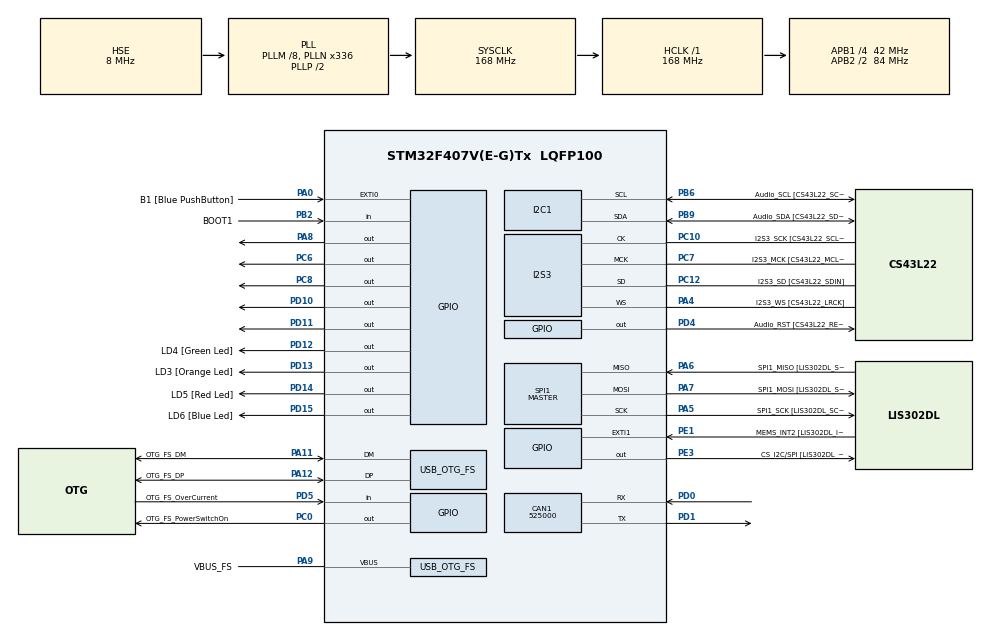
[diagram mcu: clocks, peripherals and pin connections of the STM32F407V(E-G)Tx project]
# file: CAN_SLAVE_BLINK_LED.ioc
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CAN1.BS1=CAN_BS1_2TQ
CAN1.BS2=CAN_BS2_2TQ
CAN1.CalculateBaudRate=525000
CAN1.CalculateTimeBit=1904
CAN1.CalculateTimeQuantum=380.95238095238096
CAN1.Mode=CAN_MODE_NORMAL
I2S3.AudioFreq-Half_Duplex_Master=I2S_AUDIOFREQ_96K
I2S3.ErrorAudioFreq=-2.34 %
I2S3.ErrorAudioFreq-Half_Duplex_Master=0.8 %
I2S3.FullDuplexMode=I2S_FULLDUPLEXMODE_DISABLE
I2S3.Instance=SPI$Index
I2S3.RealAudioFreq=93.75 KHz
I2S3.RealAudioFreq-Half_Duplex_Master=96.774 KHz
I2S3.VirtualMode=I2S_MODE_MASTER
Mcu.Family=STM32F4
Mcu.Name=STM32F407V(E-G)Tx
Mcu.Package=LQFP100
NVIC.CAN1_RX0_IRQn=true\:0\:0\:false\:false\:true\:true\:true\:true
NVIC.CAN1_RX1_IRQn=true\:0\:0\:false\:false\:true\:true\:true\:true
NVIC.CAN1_TX_IRQn=true\:0\:0\:false\:false\:true\:true\:true\:true
NVIC.OTG_FS_IRQn=true\:0\:0\:false\:false\:true\:true\:true\:true
NVIC.PriorityGroup=NVIC_PRIORITYGROUP_0
PA0-WKUP.GPIO_Label=B1 [Blue PushButton]
PA0-WKUP.GPIO_ModeDefaultEXTI=GPIO_MODE_EVT_RISING
PA0-WKUP.GPIO_PuPd=GPIO_NOPULL
PA0-WKUP.Signal=GPXTI0
PA10.GPIO_Label=OTG_FS_ID
PA10.GPIO_Mode=GPIO_MODE_AF_PP
PA10.GPIO_PuPd=GPIO_NOPULL
PA10.GPIO_Speed=GPIO_SPEED_FREQ_LOW
PA10.Signal=USB_OTG_FS_ID
PA11.GPIO_Label=OTG_FS_DM
PA11.GPIO_Mode=GPIO_MODE_AF_PP
PA11.GPIO_PuPd=GPIO_NOPULL
PA11.GPIO_Speed=GPIO_SPEED_FREQ_LOW
PA11.Mode=Host_Only
PA11.Signal=USB_OTG_FS_DM
PA12.GPIO_Label=OTG_FS_DP
PA12.GPIO_Mode=GPIO_MODE_AF_PP
PA12.GPIO_PuPd=GPIO_NOPULL
PA12.GPIO_Speed=GPIO_SPEED_FREQ_LOW
PA12.Mode=Host_Only
PA12.Signal=USB_OTG_FS_DP
PA13.GPIO_Label=SWDIO
PA13.Mode=Serial_Wire
PA13.Signal=SYS_JTMS-SWDIO
PA14.GPIO_Label=SWCLK
PA14.Mode=Serial_Wire
PA14.Signal=SYS_JTCK-SWCLK
PA4.GPIO_Label=I2S3_WS [CS43L22_LRCK]
PA4.GPIO_Mode=GPIO_MODE_AF_PP
PA4.GPIO_PuPd=GPIO_NOPULL
PA4.GPIO_Speed=GPIO_SPEED_FREQ_LOW
PA4.Mode=Half_Duplex_Master
PA4.Signal=I2S3_WS
PA5.GPIO_Label=SPI1_SCK [LIS302DL_SCL/SPC]
PA5.GPIO_Mode=GPIO_MODE_AF_PP
PA5.GPIO_PuPd=GPIO_NOPULL
PA5.GPIO_Speed=GPIO_SPEED_FREQ_LOW
PA5.Mode=Full_Duplex_Master
PA5.Signal=SPI1_SCK
PA6.GPIO_Label=SPI1_MISO [LIS302DL_SDO]
PA6.GPIO_Mode=GPIO_MODE_AF_PP
PA6.GPIO_PuPd=GPIO_NOPULL
PA6.GPIO_Speed=GPIO_SPEED_FREQ_LOW
PA6.Mode=Full_Duplex_Master
PA6.Signal=SPI1_MISO
PA7.GPIO_Label=SPI1_MOSI [LIS302DL_SDA/SDI/SDO]
PA7.GPIO_Mode=GPIO_MODE_AF_PP
PA7.GPIO_PuPd=GPIO_NOPULL
PA7.GPIO_Speed=GPIO_SPEED_FREQ_LOW
PA7.Mode=Full_Duplex_Master
PA7.Signal=SPI1_MOSI
PA8.Signal=GPIO_Output
PA9.GPIO_Label=VBUS_FS
PA9.GPIO_Mode=GPIO_MODE_INPUT
PA9.GPIO_PuPd=GPIO_NOPULL
PA9.Mode=Activate_VBUS
PA9.Signal=USB_OTG_FS_VBUS
PB10.GPIO_Label=CLK_IN [MP45DT02_CLK]
PB10.GPIO_Mode=GPIO_MODE_AF_PP
PB10.GPIO_PuPd=GPIO_NOPULL
PB10.GPIO_Speed=GPIO_SPEED_FREQ_LOW
PB10.Signal=I2S2_CK
PB2.GPIO_Label=BOOT1
PB2.GPIO_Mode=GPIO_MODE_INPUT
PB2.GPIO_PuPd=GPIO_NOPULL
PB2.Signal=GPIO_Input
PB3.GPIO_Label=SWO
PB3.Signal=SYS_JTDO-SWO
PB6.GPIO_Label=Audio_SCL [CS43L22_SCL]
PB6.GPIO_Mode=GPIO_MODE_AF_OD
PB6.GPIO_Pu=GPIO_PULLUP
PB6.GPIO_PuPd=GPIO_NOPULL
PB6.GPIO_Speed=GPIO_SPEED_FREQ_LOW
PB6.Mode=I2C
PB6.Signal=I2C1_SCL
PB9.GPIO_Label=Audio_SDA [CS43L22_SDA]
PB9.GPIO_Mode=GPIO_MODE_AF_OD
PB9.GPIO_Pu=GPIO_PULLUP
PB9.GPIO_PuPd=GPIO_NOPULL
PB9.GPIO_Speed=GPIO_SPEED_FREQ_LOW
PB9.Mode=I2C
PB9.Signal=I2C1_SDA
PC0.GPIO_Label=OTG_FS_PowerSwitchOn
PC0.GPIO_PuPd=GPIO_NOPULL
PC0.GPIO_Speed=GPIO_SPEED_FREQ_LOW
PC0.PinState=GPIO_PIN_SET
PC0.Signal=GPIO_Output
PC10.GPIO_Label=I2S3_SCK [CS43L22_SCLK]
PC10.GPIO_Mode=GPIO_MODE_AF_PP
PC10.GPIO_PuPd=GPIO_NOPULL
PC10.GPIO_Speed=GPIO_SPEED_FREQ_LOW
PC10.Mode=Half_Duplex_Master
PC10.Signal=I2S3_CK
PC12.GPIO_Label=I2S3_SD [CS43L22_SDIN]
PC12.GPIO_Mode=GPIO_MODE_AF_PP
PC12.GPIO_PuPd=GPIO_NOPULL
PC12.GPIO_Speed=GPIO_SPEED_FREQ_LOW
PC12.Mode=Half_Duplex_Master
PC12.Signal=I2S3_SD
PC14-OSC32_IN.GPIO_Label=PC14-OSC32_IN
PC14-OSC32_IN.Signal=RCC_OSC32_IN
PC15-OSC32_OUT.GPIO_Label=PC15-OSC32_OUT
PC15-OSC32_OUT.Signal=RCC_OSC32_OUT
PC3.GPIO_Label=PDM_OUT [MP45DT02_DOUT]
PC3.GPIO_Mode=GPIO_MODE_AF_PP
PC3.GPIO_PuPd=GPIO_NOPULL
PC3.GPIO_Speed=GPIO_SPEED_FREQ_LOW
PC3.Signal=I2S2_SD
PC6.Signal=GPIO_Output
PC7.GPIO_Label=I2S3_MCK [CS43L22_MCLK]
PC7.GPIO_Mode=GPIO_MODE_AF_PP
PC7.GPIO_PuPd=GPIO_NOPULL
PC7.GPIO_Speed=GPIO_SPEED_FREQ_LOW
PC7.Mode=Master_Clock_Activated
PC7.Signal=I2S3_MCK
PC8.Signal=GPIO_Output
PD0.Mode=CAN_Activate
PD0.Signal=CAN1_RX
PD1.Mode=CAN_Activate
PD1.Signal=CAN1_TX
PD10.Signal=GPIO_Output
PD11.Signal=GPIO_Output
PD12.GPIO_Label=LD4 [Green Led]
PD12.GPIO_PuPd=GPIO_NOPULL
PD12.GPIO_Speed=GPIO_SPEED_FREQ_LOW
PD12.Signal=GPIO_Output
PD13.GPIO_Label=LD3 [Orange Led]
PD13.GPIO_PuPd=GPIO_NOPULL
PD13.GPIO_Speed=GPIO_SPEED_FREQ_LOW
PD13.Signal=GPIO_Output
PD14.GPIO_Label=LD5 [Red Led]
PD14.GPIO_PuPd=GPIO_NOPULL
PD14.GPIO_Speed=GPIO_SPEED_FREQ_LOW
PD14.Signal=GPIO_Output
PD15.GPIO_Label=LD6 [Blue Led]
PD15.GPIO_PuPd=GPIO_NOPULL
PD15.GPIO_Speed=GPIO_SPEED_FREQ_LOW
PD15.Signal=GPIO_Output
PD4.GPIO_Label=Audio_RST [CS43L22_RESET]
PD4.GPIO_PuPd=GPIO_NOPULL
PD4.GPIO_Speed=GPIO_SPEED_FREQ_LOW
PD4.Signal=GPIO_Output
PD5.GPIO_Label=OTG_FS_OverCurrent
PD5.GPIO_Mode=GPIO_MODE_INPUT
PD5.GPIO_PuPd=GPIO_NOPULL
PD5.Signal=GPIO_Input
PE1.GPIO_Label=MEMS_INT2 [LIS302DL_INT2]
PE1.GPIO_ModeDefaultEXTI=GPIO_MODE_EVT_RISING
PE1.GPIO_PuPd=GPIO_NOPULL
PE1.Signal=GPXTI1
PE3.GPIO_Label=CS_I2C/SPI [LIS302DL_CS_I2C/SPI]
PE3.GPIO_PuPd=GPIO_NOPULL
PE3.GPIO_Speed=GPIO_SPEED_FREQ_LOW
PE3.Signal=GPIO_Output
PH0-OSC_IN.GPIO_Label=PH0-OSC_IN
PH0-OSC_IN.Mode=HSE-External-Oscillator
PH0-OSC_IN.Signal=RCC_OSC_IN
PH1-OSC_OUT.GPIO_Label=PH1-OSC_OUT
PH1-OSC_OUT.Mode=HSE-External-Oscillator
PH1-OSC_OUT.Signal=RCC_OSC_OUT
ProjectManager.HeapSize=0x200
ProjectManager.StackSize=0x400
ProjectManager.TargetToolchain=STM32CubeIDE
RCC.48MHZClocksFreq_Value=48000000
RCC.AHBFreq_Value=168000000
RCC.APB1CLKDivider=RCC_HCLK_DIV4
RCC.APB1Freq_Value=42000000
RCC.APB1TimFreq_Value=84000000
RCC.APB2CLKDivider=RCC_HCLK_DIV2
RCC.APB2Freq_Value=84000000
RCC.APB2TimFreq_Value=168000000
RCC.CortexFreq_Value=168000000
RCC.HCLKFreq_Value=168000000
RCC.HSE_VALUE=8000000
RCC.HSI_VALUE=16000000
RCC.LSE_VALUE=32768
RCC.PLLM=8
RCC.PLLN=336
RCC.PLLQ=7
RCC.SYSCLKFreq_VALUE=168000000
RCC.SYSCLKSource=RCC_SYSCLKSOURCE_PLLCLK
RCC.VCOOutputFreq_Value=336000000
SPI1.BaudRatePrescaler-Full_Duplex_Master=SPI_BAUDRATEPRESCALER_2
SPI1.CalculateBaudRate-Full_Duplex_Master=42.0 MBits/s
SPI1.Direction=SPI_DIRECTION_2LINES
SPI1.Mode=SPI_MODE_MASTER
SPI1.Mode-Full_Duplex_Master=SPI_MODE_MASTER
SPI1.VirtualType=VM_MASTER
USB_HOST.BSP.number=1
USB_HOST.USBH_HandleTypeDef-CDC_FS=hUsbHostFS
USB_HOST.VirtualModeFS=Cdc
USB_HOST0.BSP.STBoard=false
USB_HOST0.BSP.api=Unknown
USB_HOST0.BSP.instance=PC0
USB_HOST0.BSP.ip=GPIO
USB_HOST0.BSP.mode=Output
USB_HOST0.BSP.name=Drive_VBUS_FS
USB_HOST0.BSP.solution=PC0
USB_OTG_FS.VirtualMode=Host_Only
USB_OTG_FS.phy_itface=HCD_PHY_EMBEDDED
VP_USB_HOST_VS_USB_HOST_CDC_FS.Mode=CDC_FS
board=STM32F407G-DISC1

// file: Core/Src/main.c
/* USER CODE BEGIN Header */
/**
  ******************************************************************************
  * @file           : main.c
  * @brief          : Main program body
  ******************************************************************************
  * @attention
  *
  * Copyright (c) 2024 STMicroelectronics.
  * All rights reserved.
  *
  * This software is licensed under terms that can be found in the LICENSE file
  * in the root directory of this software component.
  * If no LICENSE file comes with this software, it is provided AS-IS.
  *
  ******************************************************************************
  */
/* USER CODE END Header */
#include "main.h"
#include "usb_host.h"

/* USER CODE BEGIN Includes */
#include "string.h"
#include "stdio.h"
/* USER CODE END Includes */

CAN_HandleTypeDef hcan1;

I2C_HandleTypeDef hi2c1;

I2S_HandleTypeDef hi2s3;

SPI_HandleTypeDef hspi1;

void SystemClock_Config(void);
static void MX_GPIO_Init(void);
static void MX_I2C1_Init(void);
static void MX_I2S3_Init(void);
static void MX_SPI1_Init(void);
static void MX_CAN1_Init(void);
void MX_USB_HOST_Process(void);

/* USER CODE BEGIN 0 */
CAN_HandleTypeDef     CanHandle;
CAN_TxHeaderTypeDef   TxHeader;
CAN_RxHeaderTypeDef   RxHeader;
uint8_t               TxData[8];
uint8_t               RxData[8];
uint32_t              TxMailbox;

void HAL_CAN_RxFifo0MsgPendingCallback(CAN_HandleTypeDef *hcan)
{
  if (HAL_CAN_GetRxMessage(&hcan1, CAN_RX_FIFO0, &RxHeader, RxData) != HAL_OK)
  {
    Error_Handler();
  }
};
/* USER CODE END 0 */

int main(void)
{

  /* MCU Configuration--------------------------------------------------------*/

  /* Reset of all peripherals, Initializes the Flash interface and the Systick. */
  HAL_Init();

  /* Configure the system clock */
  SystemClock_Config();

  /* Initialize all configured peripherals */
  MX_GPIO_Init();
  MX_I2C1_Init();
  MX_I2S3_Init();
  MX_SPI1_Init();
  MX_USB_HOST_Init();
  MX_CAN1_Init();
  /* USER CODE BEGIN 2 */
  if (HAL_CAN_Start(&hcan1) != HAL_OK)
     {
   	  Error_Handler();
     }

   if (HAL_CAN_ActivateNotification(&hcan1, CAN_IT_RX_FIFO0_MSG_PENDING) != HAL_OK)
     {
   	  Error_Handler();
     }

  /* USER CODE END 2 */

  /* Infinite loop */
  while (1)
  {
    MX_USB_HOST_Process();

    /* USER CODE BEGIN 3 */
	TxHeader.StdId = 0x215;
	TxHeader.ExtId = 0x00;
	TxHeader.RTR = CAN_RTR_DATA;
	TxHeader.IDE = CAN_ID_STD;
	TxHeader.DLC = 8;
	TxHeader.TransmitGlobalTime = DISABLE;

	/*Process data transmitted by the master*/
	//uint8_t TxData[8] = {'A',1,1,1,1,1,1,0};
	//if (HAL_CAN_AddTxMessage(&hcan1, &TxHeader, TxData, &TxMailbox) != HAL_OK)
	//{
	//    Error_Handler();
	//}
	//HAL_Delay(100);

	uint8_t state_4led;

	if (RxData[0] == 65)
	{
		//CONTROL LED 1
		if (RxData[1] == 1)
		{
			//LED 1 ON
			HAL_GPIO_WritePin(GPIOC, GPIO_PIN_6, 1);
			state_4led |= 1<<1;
		}
		else
		{
			//LED 1 OFF
			HAL_GPIO_WritePin(GPIOC, GPIO_PIN_6, 0);
			state_4led |= 0<<1;
		}

		//CONTROL LED 2
		if (RxData[2] == 1)
		{
			//LED 2 ON
			HAL_GPIO_WritePin(GPIOC, GPIO_PIN_8, 1);
			state_4led |= 1<<2;
		}
		else
		{
			//LED 2 OFF
			HAL_GPIO_WritePin(GPIOC, GPIO_PIN_8, 0);
			state_4led |= 0<<2;
		}

		//CONTROL LED 3
		if (RxData[3] == 1)
		{
			//LED 3 ON
			HAL_GPIO_WritePin(GPIOA, GPIO_PIN_8, 1);
			state_4led |= 1<<3;
		}
		else
		{
			//LED 3 OFF
			HAL_GPIO_WritePin(GPIOA, GPIO_PIN_8, 0);
			state_4led |= 0<<3;
		}

		//CONTROL LED 4
		if (RxData[4] == 1)
		{
			//LED 4
			HAL_GPIO_WritePin(GPIOD, GPIO_PIN_10, 1);
			state_4led |= 1<<4;
		}
		else
		{
			//LED PD15 off
	    	HAL_GPIO_WritePin(GPIOD, GPIO_PIN_10, 0);
			state_4led |= 0<<4;
		}

		//CONTROL LED 5
		if (RxData[5] == 1)
		{
			//LED 5 ON
			HAL_GPIO_WritePin(GPIOD, GPIO_PIN_12, 1);
			state_4led |= 1<<5;
		}
		else
		{
			//LED 5 OFF
		    HAL_GPIO_WritePin(GPIOD, GPIO_PIN_12, 0);
			state_4led |= 0<<5;
		}

		//CONTROL LED 6
		if (RxData[6] == 1)
		{
			//LED 6 ON
			HAL_GPIO_WritePin(GPIOD, GPIO_PIN_14, 1);
			state_4led |= 1<<6;
		}
		else
		{
			//LED 6 OFF
		   	HAL_GPIO_WritePin(GPIOD, GPIO_PIN_14, 0);
			state_4led |= 0<<6;
		}

		//Send light status to master
		uint8_t TxData[8];
		// Assign data from state_4led variable to TxData array
		TxData[0] = state_4led;
		TxData[1] = 0;
		TxData[2] = 0;
		TxData[3] = 0;
		TxData[4] = 0;
		TxData[5] = 0;
		TxData[6] = 0;
		TxData[7] = 0;
		// Send data via CAN communication
		if (HAL_CAN_AddTxMessage(&hcan1, &TxHeader, TxData, &TxMailbox) != HAL_OK)
		{
		    Error_Handler();
	    }
		HAL_Delay(10);
		//Reset state_4led
		state_4led = 0;
	}
  }
  /* USER CODE END 3 */
}

void SystemClock_Config(void)
{
  RCC_OscInitTypeDef RCC_OscInitStruct = {0};
  RCC_ClkInitTypeDef RCC_ClkInitStruct = {0};

  /** Configure the main internal regulator output voltage
  */
  __HAL_RCC_PWR_CLK_ENABLE();
  __HAL_PWR_VOLTAGESCALING_CONFIG(PWR_REGULATOR_VOLTAGE_SCALE1);

  /** Initializes the RCC Oscillators according to the specified parameters
  * in the RCC_OscInitTypeDef structure.
  */
  RCC_OscInitStruct.OscillatorType = RCC_OSCILLATORTYPE_HSE;
  RCC_OscInitStruct.HSEState = RCC_HSE_ON;
  RCC_OscInitStruct.PLL.PLLState = RCC_PLL_ON;
  RCC_OscInitStruct.PLL.PLLSource = RCC_PLLSOURCE_HSE;
  RCC_OscInitStruct.PLL.PLLM = 8;
  RCC_OscInitStruct.PLL.PLLN = 336;
  RCC_OscInitStruct.PLL.PLLP = RCC_PLLP_DIV2;
  RCC_OscInitStruct.PLL.PLLQ = 7;
  if (HAL_RCC_OscConfig(&RCC_OscInitStruct) != HAL_OK)
  {
    Error_Handler();
  }

  /** Initializes the CPU, AHB and APB buses clocks
  */
  RCC_ClkInitStruct.ClockType = RCC_CLOCKTYPE_HCLK|RCC_CLOCKTYPE_SYSCLK
                              |RCC_CLOCKTYPE_PCLK1|RCC_CLOCKTYPE_PCLK2;
  RCC_ClkInitStruct.SYSCLKSource = RCC_SYSCLKSOURCE_PLLCLK;
  RCC_ClkInitStruct.AHBCLKDivider = RCC_SYSCLK_DIV1;
  RCC_ClkInitStruct.APB1CLKDivider = RCC_HCLK_DIV4;
  RCC_ClkInitStruct.APB2CLKDivider = RCC_HCLK_DIV2;

  if (HAL_RCC_ClockConfig(&RCC_ClkInitStruct, FLASH_LATENCY_5) != HAL_OK)
  {
    Error_Handler();
  }
}

static void MX_CAN1_Init(void)
{

  hcan1.Instance = CAN1;
  hcan1.Init.Prescaler = 16;
  hcan1.Init.Mode = CAN_MODE_NORMAL;
  hcan1.Init.SyncJumpWidth = CAN_SJW_1TQ;
  hcan1.Init.TimeSeg1 = CAN_BS1_2TQ;
  hcan1.Init.TimeSeg2 = CAN_BS2_2TQ;
  hcan1.Init.TimeTriggeredMode = DISABLE;
  hcan1.Init.AutoBusOff = DISABLE;
  hcan1.Init.AutoWakeUp = DISABLE;
  hcan1.Init.AutoRetransmission = DISABLE;
  hcan1.Init.ReceiveFifoLocked = DISABLE;
  hcan1.Init.TransmitFifoPriority = DISABLE;
  if (HAL_CAN_Init(&hcan1) != HAL_OK)
  {
    Error_Handler();
  }
  /* USER CODE BEGIN CAN1_Init 2 */
  CAN_FilterTypeDef canfilterconfig;

  canfilterconfig.FilterActivation = CAN_FILTER_ENABLE;
  canfilterconfig.FilterBank = 18;  // which filter bank to use from the assigned ones
  canfilterconfig.FilterFIFOAssignment = CAN_FILTER_FIFO0;
  canfilterconfig.FilterIdHigh = 0x407<<5;
  canfilterconfig.FilterIdLow = 0;
  canfilterconfig.FilterMaskIdHigh = 0x407<<5;
  canfilterconfig.FilterMaskIdLow = 0x0000;
  canfilterconfig.FilterMode = CAN_FILTERMODE_IDMASK;
  canfilterconfig.FilterScale = CAN_FILTERSCALE_32BIT;
  canfilterconfig.SlaveStartFilterBank = 40;  // how many filters to assign to the CAN1 (master can)

  HAL_CAN_ConfigFilter(&hcan1, &canfilterconfig);
  /* USER CODE END CAN1_Init 2 */

}

static void MX_I2C1_Init(void)
{

  hi2c1.Instance = I2C1;
  hi2c1.Init.ClockSpeed = 100000;
  hi2c1.Init.DutyCycle = I2C_DUTYCYCLE_2;
  hi2c1.Init.OwnAddress1 = 0;
  hi2c1.Init.AddressingMode = I2C_ADDRESSINGMODE_7BIT;
  hi2c1.Init.DualAddressMode = I2C_DUALADDRESS_DISABLE;
  hi2c1.Init.OwnAddress2 = 0;
  hi2c1.Init.GeneralCallMode = I2C_GENERALCALL_DISABLE;
  hi2c1.Init.NoStretchMode = I2C_NOSTRETCH_DISABLE;
  if (HAL_I2C_Init(&hi2c1) != HAL_OK)
  {
    Error_Handler();
  }

}

static void MX_I2S3_Init(void)
{

  hi2s3.Instance = SPI3;
  hi2s3.Init.Mode = I2S_MODE_MASTER_TX;
  hi2s3.Init.Standard = I2S_STANDARD_PHILIPS;
  hi2s3.Init.DataFormat = I2S_DATAFORMAT_16B;
  hi2s3.Init.MCLKOutput = I2S_MCLKOUTPUT_ENABLE;
  hi2s3.Init.AudioFreq = I2S_AUDIOFREQ_96K;
  hi2s3.Init.CPOL = I2S_CPOL_LOW;
  hi2s3.Init.ClockSource = I2S_CLOCK_PLL;
  hi2s3.Init.FullDuplexMode = I2S_FULLDUPLEXMODE_DISABLE;
  if (HAL_I2S_Init(&hi2s3) != HAL_OK)
  {
    Error_Handler();
  }

}

static void MX_SPI1_Init(void)
{

  /* SPI1 parameter configuration*/
  hspi1.Instance = SPI1;
  hspi1.Init.Mode = SPI_MODE_MASTER;
  hspi1.Init.Direction = SPI_DIRECTION_2LINES;
  hspi1.Init.DataSize = SPI_DATASIZE_8BIT;
  hspi1.Init.CLKPolarity = SPI_POLARITY_LOW;
  hspi1.Init.CLKPhase = SPI_PHASE_1EDGE;
  hspi1.Init.NSS = SPI_NSS_SOFT;
  hspi1.Init.BaudRatePrescaler = SPI_BAUDRATEPRESCALER_2;
  hspi1.Init.FirstBit = SPI_FIRSTBIT_MSB;
  hspi1.Init.TIMode = SPI_TIMODE_DISABLE;
  hspi1.Init.CRCCalculation = SPI_CRCCALCULATION_DISABLE;
  hspi1.Init.CRCPolynomial = 10;
  if (HAL_SPI_Init(&hspi1) != HAL_OK)
  {
    Error_Handler();
  }

}

static void MX_GPIO_Init(void)
{
  GPIO_InitTypeDef GPIO_InitStruct = {0};

  /* GPIO Ports Clock Enable */
  __HAL_RCC_GPIOE_CLK_ENABLE();
  __HAL_RCC_GPIOC_CLK_ENABLE();
  __HAL_RCC_GPIOH_CLK_ENABLE();
  __HAL_RCC_GPIOA_CLK_ENABLE();
  __HAL_RCC_GPIOB_CLK_ENABLE();
  __HAL_RCC_GPIOD_CLK_ENABLE();

  /*Configure GPIO pin Output Level */
  HAL_GPIO_WritePin(CS_I2C_SPI_GPIO_Port, CS_I2C_SPI_Pin, GPIO_PIN_RESET);

  /*Configure GPIO pin Output Level */
  HAL_GPIO_WritePin(OTG_FS_PowerSwitchOn_GPIO_Port, OTG_FS_PowerSwitchOn_Pin, GPIO_PIN_SET);

  /*Configure GPIO pin Output Level */
  HAL_GPIO_WritePin(GPIOD, GPIO_PIN_10|GPIO_PIN_11|LD4_Pin|LD3_Pin
                          |LD5_Pin|LD6_Pin|Audio_RST_Pin, GPIO_PIN_RESET);

  /*Configure GPIO pin Output Level */
  HAL_GPIO_WritePin(GPIOC, GPIO_PIN_6|GPIO_PIN_8, GPIO_PIN_RESET);

  /*Configure GPIO pin Output Level */
  HAL_GPIO_WritePin(GPIOA, GPIO_PIN_8, GPIO_PIN_RESET);

  /*Configure GPIO pin : CS_I2C_SPI_Pin */
  GPIO_InitStruct.Pin = CS_I2C_SPI_Pin;
  GPIO_InitStruct.Mode = GPIO_MODE_OUTPUT_PP;
  GPIO_InitStruct.Pull = GPIO_NOPULL;
  GPIO_InitStruct.Speed = GPIO_SPEED_FREQ_LOW;
  HAL_GPIO_Init(CS_I2C_SPI_GPIO_Port, &GPIO_InitStruct);

  /*Configure GPIO pins : OTG_FS_PowerSwitchOn_Pin PC6 PC8 */
  GPIO_InitStruct.Pin = OTG_FS_PowerSwitchOn_Pin|GPIO_PIN_6|GPIO_PIN_8;
  GPIO_InitStruct.Mode = GPIO_MODE_OUTPUT_PP;
  GPIO_InitStruct.Pull = GPIO_NOPULL;
  GPIO_InitStruct.Speed = GPIO_SPEED_FREQ_LOW;
  HAL_GPIO_Init(GPIOC, &GPIO_InitStruct);

  /*Configure GPIO pin : PDM_OUT_Pin */
  GPIO_InitStruct.Pin = PDM_OUT_Pin;
  GPIO_InitStruct.Mode = GPIO_MODE_AF_PP;
  GPIO_InitStruct.Pull = GPIO_NOPULL;
  GPIO_InitStruct.Speed = GPIO_SPEED_FREQ_LOW;
  GPIO_InitStruct.Alternate = GPIO_AF5_SPI2;
  HAL_GPIO_Init(PDM_OUT_GPIO_Port, &GPIO_InitStruct);

  /*Configure GPIO pin : B1_Pin */
  GPIO_InitStruct.Pin = B1_Pin;
  GPIO_InitStruct.Mode = GPIO_MODE_EVT_RISING;
  GPIO_InitStruct.Pull = GPIO_NOPULL;
  HAL_GPIO_Init(B1_GPIO_Port, &GPIO_InitStruct);

  /*Configure GPIO pin : BOOT1_Pin */
  GPIO_InitStruct.Pin = BOOT1_Pin;
  GPIO_InitStruct.Mode = GPIO_MODE_INPUT;
  GPIO_InitStruct.Pull = GPIO_NOPULL;
  HAL_GPIO_Init(BOOT1_GPIO_Port, &GPIO_InitStruct);

  /*Configure GPIO pin : CLK_IN_Pin */
  GPIO_InitStruct.Pin = CLK_IN_Pin;
  GPIO_InitStruct.Mode = GPIO_MODE_AF_PP;
  GPIO_InitStruct.Pull = GPIO_NOPULL;
  GPIO_InitStruct.Speed = GPIO_SPEED_FREQ_LOW;
  GPIO_InitStruct.Alternate = GPIO_AF5_SPI2;
  HAL_GPIO_Init(CLK_IN_GPIO_Port, &GPIO_InitStruct);

  /*Configure GPIO pins : PD10 PD11 LD4_Pin LD3_Pin
                           LD5_Pin LD6_Pin Audio_RST_Pin */
  GPIO_InitStruct.Pin = GPIO_PIN_10|GPIO_PIN_11|LD4_Pin|LD3_Pin
                          |LD5_Pin|LD6_Pin|Audio_RST_Pin;
  GPIO_InitStruct.Mode = GPIO_MODE_OUTPUT_PP;
  GPIO_InitStruct.Pull = GPIO_NOPULL;
  GPIO_InitStruct.Speed = GPIO_SPEED_FREQ_LOW;
  HAL_GPIO_Init(GPIOD, &GPIO_InitStruct);

  /*Configure GPIO pin : PA8 */
  GPIO_InitStruct.Pin = GPIO_PIN_8;
  GPIO_InitStruct.Mode = GPIO_MODE_OUTPUT_PP;
  GPIO_InitStruct.Pull = GPIO_NOPULL;
  GPIO_InitStruct.Speed = GPIO_SPEED_FREQ_LOW;
  HAL_GPIO_Init(GPIOA, &GPIO_InitStruct);

  /*Configure GPIO pin : OTG_FS_OverCurrent_Pin */
  GPIO_InitStruct.Pin = OTG_FS_OverCurrent_Pin;
  GPIO_InitStruct.Mode = GPIO_MODE_INPUT;
  GPIO_InitStruct.Pull = GPIO_NOPULL;
  HAL_GPIO_Init(OTG_FS_OverCurrent_GPIO_Port, &GPIO_InitStruct);

  /*Configure GPIO pin : MEMS_INT2_Pin */
  GPIO_InitStruct.Pin = MEMS_INT2_Pin;
  GPIO_InitStruct.Mode = GPIO_MODE_EVT_RISING;
  GPIO_InitStruct.Pull = GPIO_NOPULL;
  HAL_GPIO_Init(MEMS_INT2_GPIO_Port, &GPIO_InitStruct);

}

void Error_Handler(void)
{
  __disable_irq();
  while (1)
  {
  }
}
